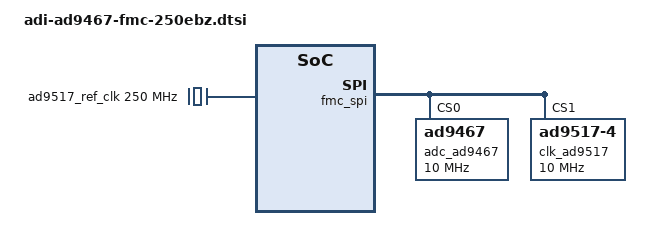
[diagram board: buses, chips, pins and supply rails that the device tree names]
/ {
	clocks {
		ad9517_ref_clk: clock@0 {
				#clock-cells = <0>;
				compatible = "fixed-clock";
				clock-frequency = <250000000>;
				clock-output-names = "ad9517_refclk";
		};
	};
};

&fmc_spi {
	adc_ad9467: ad9467@0 {
		#address-cells = <1>;
		#size-cells = <0>;
		compatible = "ad9467";
		reg = <0>;
		spi-max-frequency = <10000000>;
		clocks = <&clk_ad9517 3>;
		clock-names = "adc_clk";

		adi,spi-3wire-enable;
	};

	clk_ad9517: ad9517@1 {
		#address-cells = <1>;
		#size-cells = <0>;
		#clock-cells = <1>;
		compatible = "ad9517-4";
		reg = <1>;
		spi-max-frequency = <10000000>;
		clocks = <&ad9517_ref_clk>, <&ad9517_ref_clk>;
		clock-names = "refclk", "clkin";
		clock-output-names = "out0", "out1", "out2", "out3", "out4", "out5", "out6", "out7";
		firmware = "ad9467_intbypass_ad9517.stp";

		adi,spi-3wire-enable;
	};
};
